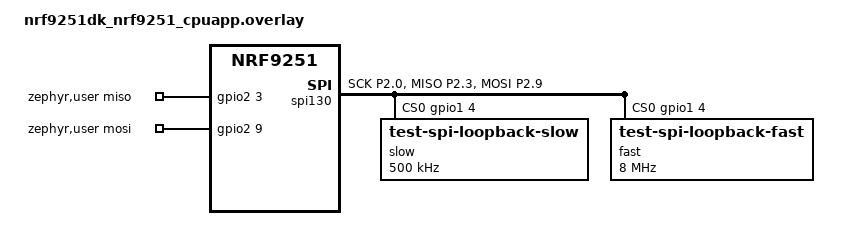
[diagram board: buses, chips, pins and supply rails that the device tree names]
/*
 * Copyright (c) 2026 Nordic Semiconductor ASA
 *
 * SPDX-License-Identifier: LicenseRef-Nordic-5-Clause
 */

#include <zephyr/dt-bindings/gpio/gpio.h>

/ {
	zephyr,user {
		miso-gpios = <&gpio2 3 GPIO_ACTIVE_HIGH>;
		mosi-gpios = <&gpio2 9 GPIO_ACTIVE_HIGH>;
	};
};

&pinctrl {
	spi130_default: spi130_default {
		group1 {
			psels = <NRF_PSEL(SPIM_SCK, 2, 0)>,
				<NRF_PSEL(SPIM_MISO, 2, 3)>,
				<NRF_PSEL(SPIM_MOSI, 2, 9)>;
		};
	};

	spi130_sleep: spi130_sleep {
		group1 {
			psels = <NRF_PSEL(SPIM_SCK, 2, 0)>,
				<NRF_PSEL(SPIM_MISO, 2, 3)>,
				<NRF_PSEL(SPIM_MOSI, 2, 9)>;
			low-power-enable;
		};
	};
};

&spi130 {
	pinctrl-0 = <&spi130_default>;
	pinctrl-1 = <&spi130_sleep>;
	pinctrl-names = "default", "sleep";
	overrun-character = <0x00>;
	zephyr,pm-device-runtime-auto;
	status = "okay";

	slow@0 {
		compatible = "test-spi-loopback-slow";
		reg = <0>;
		spi-max-frequency = <DT_FREQ_K(500)>;
	};

	fast@0 {
		compatible = "test-spi-loopback-fast";
		reg = <0>;
		spi-max-frequency = <DT_FREQ_M(8)>;
	};

	cs-gpios = <&gpio1 4 0>;
};

&gpio1 {
	status = "okay";
};

&gpiote130 {
	status = "okay";
};

&spi130 {
	memory-regions = <&cpuapp_dma_region>;
};
